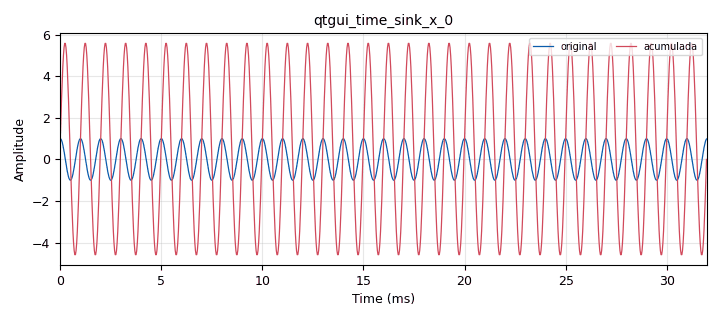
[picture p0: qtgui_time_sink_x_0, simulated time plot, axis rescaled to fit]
<?xml version='1.0' encoding='utf-8'?>
<?grc format='1' created='3.7.13'?>
<flow_graph>
<block>
<key>options</key>
<param><key>id</key><value>top_block</value></param>
<param><key>generate_options</key><value>qt_gui</value></param>
</block>
<block>
<key>variable</key>
<param><key>id</key><value>Ac</value></param>
<param><key>value</key><value>1.</value></param>
</block>
<block>
<key>variable</key>
<param><key>id</key><value>Am</value></param>
<param><key>value</key><value>1.</value></param>
</block>
<block>
<key>variable</key>
<param><key>id</key><value>DeltaF</value></param>
<param><key>value</key><value>beta*fm</value></param>
</block>
<block>
<key>variable</key>
<param><key>id</key><value>Kf</value></param>
<param><key>value</key><value>DeltaF/Am</value></param>
</block>
<block>
<key>variable</key>
<param><key>id</key><value>beta</value></param>
<param><key>value</key><value>5.</value></param>
</block>
<block>
<key>variable</key>
<param><key>id</key><value>fm</value></param>
<param><key>value</key><value>1000.</value></param>
</block>
<block>
<key>variable</key>
<param><key>id</key><value>samp_rate</value></param>
<param><key>value</key><value>32000</value></param>
</block>
<block>
<key>variable</key>
<param><key>id</key><value>samp_rate_0</value></param>
<param><key>value</key><value>64000</value></param>
</block>
<block>
<key>analog_sig_source_x</key>
<param><key>id</key><value>analog_sig_source_x_0</value></param>
<param><key>amp</key><value>Am</value></param>
<param><key>freq</key><value>fm</value></param>
<param><key>offset</key><value>0</value></param>
<param><key>type</key><value>float</value></param>
<param><key>samp_rate</key><value>samp_rate</value></param>
<param><key>waveform</key><value>analog.GR_COS_WAVE</value></param>
</block>
<block>
<key>epy_block</key>
<param><key>id</key><value>e_Accum_all_ff</value></param>
<param><key>_source_code</key><value>"""
Embedded Python Blocks:

Each time this file is saved, GRC will instantiate the first class it finds
to get ports and parameters of your block. The arguments to __init__  will
be the parameters. All of them are required to have default values!
"""

import numpy as np
from gnuradio import gr


class blk(gr.sync_block):  # other base classes are basic_block, decim_block, interp_block
    """Hecho por Homoero Ortega. Es un acumulador puro, va acumulando cada muestra entrante mientras entrega lo que lleva acumulado hasta el momento. Puede usarlo como integrador si la salida la divide en la frecuencia de muestreo de la senal"""

    def __init__(self):  # only default arguments here
        gr.sync_block.__init__(
            self,
            name='e_Accum_all_ff',   # will show up in GRC
            in_sig=[np.float32],
            out_sig=[np.float32]
        )
	self.memory=0.
    def work(self, input_items, output_items):
        """El acumulador"""
	in0=input_items[0]
	out0=output_items[0]
        L=len(in0)
	out0[:] = self.memory+np.cumsum(in0)
#	out0[:]=np.cumsum(in0)
	self.memory=out0[L-1]
        return len(out0)
</value></param>
</block>
<block>
<key>import</key>
<param><key>id</key><value>import_0</value></param>
<param><key>import</key><value>import math</value></param>
</block>
<block>
<key>qtgui_time_sink_x</key>
<param><key>id</key><value>qtgui_time_sink_x_0</value></param>
<param><key>color1</key><value>"blue"</value></param>
<param><key>label1</key><value>original</value></param>
<param><key>color2</key><value>"red"</value></param>
<param><key>label2</key><value>acumulada</value></param>
<param><key>nconnections</key><value>2</value></param>
<param><key>size</key><value>1024</value></param>
<param><key>srate</key><value>samp_rate</value></param>
<param><key>type</key><value>float</value></param>
</block>
<block>
<key>virtual_sink</key>
<param><key>id</key><value>vs_0_0_0</value></param>
<param><key>stream_id</key><value>P0</value></param>
</block>
<block>
<key>virtual_sink</key>
<param><key>id</key><value>vs_0_0_0_0</value></param>
<param><key>stream_id</key><value>P0a</value></param>
</block>
<block>
<key>virtual_source</key>
<param><key>id</key><value>vso_0_0_0_0</value></param>
<param><key>stream_id</key><value>P0</value></param>
</block>
<block>
<key>virtual_source</key>
<param><key>id</key><value>vso_0_0_0_0_0</value></param>
<param><key>stream_id</key><value>P0a</value></param>
</block>
<connection><source_block_id>analog_sig_source_x_0</source_block_id><sink_block_id>e_Accum_all_ff</sink_block_id><source_key>0</source_key><sink_key>0</sink_key></connection>
<connection><source_block_id>analog_sig_source_x_0</source_block_id><sink_block_id>vs_0_0_0</sink_block_id><source_key>0</source_key><sink_key>0</sink_key></connection>
<connection><source_block_id>e_Accum_all_ff</source_block_id><sink_block_id>vs_0_0_0_0</sink_block_id><source_key>0</source_key><sink_key>0</sink_key></connection>
<connection><source_block_id>vso_0_0_0_0</source_block_id><sink_block_id>qtgui_time_sink_x_0</sink_block_id><source_key>0</source_key><sink_key>0</sink_key></connection>
<connection><source_block_id>vso_0_0_0_0_0</source_block_id><sink_block_id>qtgui_time_sink_x_0</sink_block_id><source_key>0</source_key><sink_key>1</sink_key></connection>
</flow_graph>
